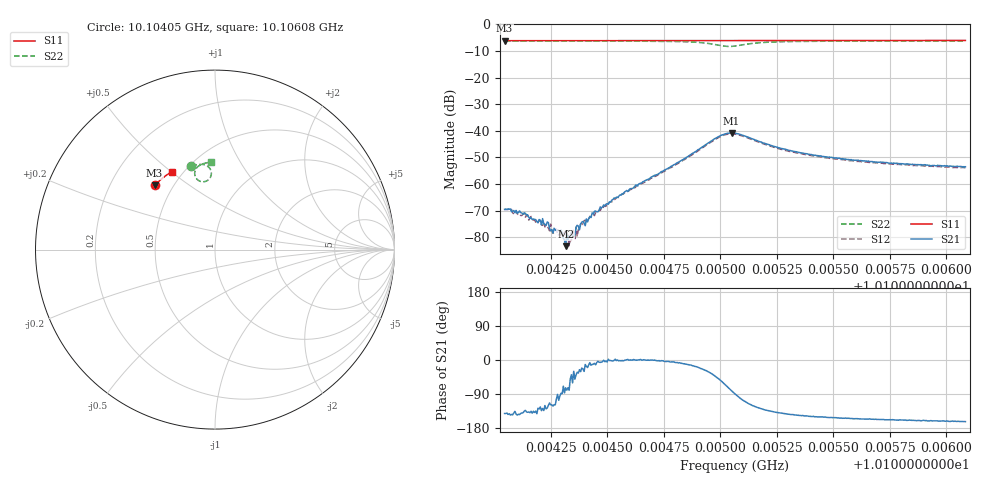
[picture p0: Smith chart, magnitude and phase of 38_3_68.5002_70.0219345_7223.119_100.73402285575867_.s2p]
#  HZ  S  RI  R  50.00
! Rohde & Schwarz Vector Network Analyzer
! Rohde-Schwarz,ZNB20-2Port,1311601062101988,3.16
! Created: UTC 3/20/2024, 4:50:13 PM
! freq[Hz]  re:S11  im:S11  re:S21  im:S21  re:S12  im:S12  re:S22  im:S22
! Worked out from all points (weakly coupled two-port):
!   401 points, 10.10405 GHz to 10.10608 GHz, reference 50 ohm
!   highest |S21| = -40.82 dB at 10.10505 GHz (marker M1); lowest = -83.4 dB at 10.10432 GHz (marker M2)
!   lowest |S11| = -6.2 dB at 10.10405 GHz (marker M3), VSWR 2.93, Z = 19.8 + j18.7 ohm
!   |S11| at or under -10 dB: nowhere
!   |S22| runs from -8.3 to -6.2 dB; largest |S21 - S12| = 0.00094
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1.0104047e10  -0.3365 0.3582  -0.00026 -0.000208  -0.000248 -0.000206  -0.1316 0.4655
1.0104138e10  -0.3325 0.3622  -0.000191 -0.000206  -0.00018 -0.000155  -0.1249 0.4676
1.0104184e10  -0.3305 0.3642  -0.000151 -0.000152  -0.000118 -0.000151  -0.1215 0.4684
1.0104225e10  -0.3288 0.366  -8.82e-05 -0.000151  -9.23e-05 -0.000125  -0.1184 0.4694
1.0104255e10  -0.3274 0.3671  -6.63e-05 -0.000122  -4.51e-05 -0.000124  -0.116 0.47
1.0104291e10  -0.3259 0.3686  -1.07e-05 -0.000125  1.23e-05 -0.000118  -0.1134 0.4707
1.0104317e10  -0.3247 0.3698  1.94e-05 -6.5e-05  3.37e-05 -0.000115  -0.1113 0.471
1.0104332e10  -0.324 0.3705  1.86e-05 -0.000102  2.47e-05 -6.46e-05  -0.1099 0.4714
1.0104347e10  -0.3233 0.3712  5.24e-05 -9.2e-05  0.000129 -5.93e-05  -0.1088 0.4717
1.0104367e10  -0.3224 0.3721  0.000142 -8.96e-05  8.86e-05 -5.16e-05  -0.1071 0.472
1.0104388e10  -0.3215 0.3728  0.000178 -6.9e-05  0.000165 -7.68e-05  -0.1053 0.4723
1.0104408e10  -0.3207 0.3737  0.000211 -6.44e-05  0.000192 -7.14e-05  -0.1036 0.4727
1.0104444e10  -0.3191 0.3751  0.000303 -4.65e-05  0.000253 -2.57e-05  -0.1004 0.4732
1.010453e10  -0.3151 0.3788  0.000543 -1.15e-05  0.000503 2.97e-05  -0.0923 0.4745
1.0104729e10  -0.306 0.3867  0.00157 -4.07e-05  0.00154 5.88e-05  -0.0681 0.4747
1.0104984e10  -0.2939 0.3963  0.00521 -0.00526  0.00546 -0.00456  -0.0222 0.4113
1.010505e10  -0.2908 0.3985  0.00138 -0.009  0.0021 -0.00846  -0.0691 0.3778
1.0105065e10  -0.2904 0.399  7.57e-05 -0.00898  0.000832 -0.00862  -0.0834 0.3809
1.0105259e10  -0.2813 0.4066  -0.00361 -0.00312  -0.0032 -0.0033  -0.1008 0.4574
1.0105407e10  -0.2741 0.4122  -0.00304 -0.0018  -0.0027 -0.00203  -0.0816 0.472
1.0105748e10  -0.2571 0.424  -0.00226 -0.000935  -0.0021 -0.0011  -0.0498 0.4828
1.0106084e10  -0.2398 0.4349  -0.00201 -0.000631  -0.00187 -0.000786  -0.0246 0.4869
